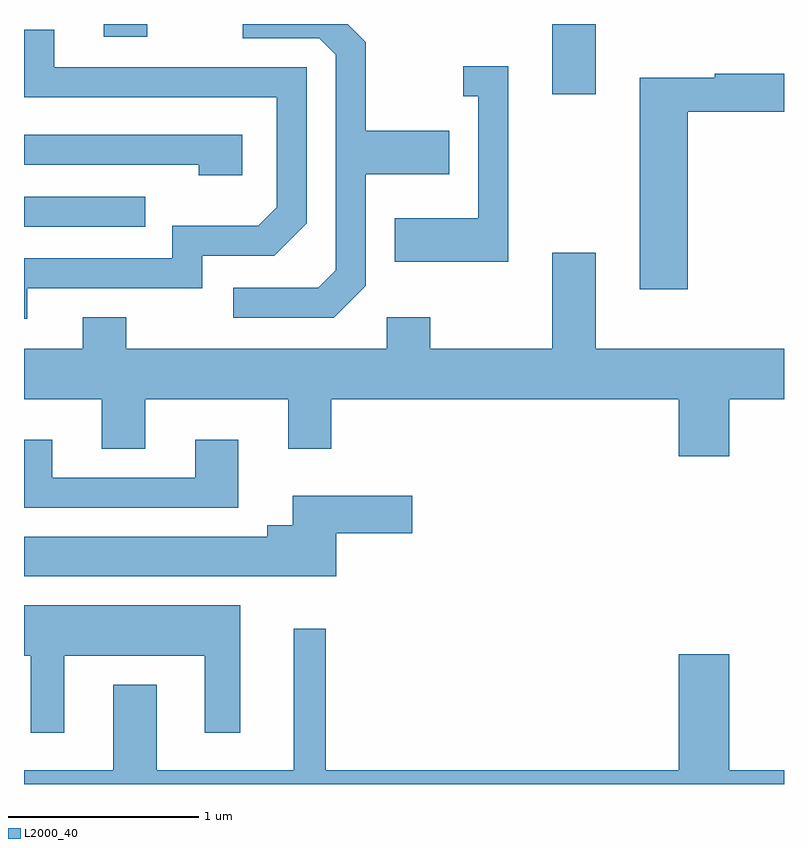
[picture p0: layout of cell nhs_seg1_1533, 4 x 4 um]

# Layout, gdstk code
import gdstk
lib = gdstk.Library(unit=1e-6, precision=1e-09)
def R(c, l, rs):  # rectangles x0, y0, x1, y1
    for r in rs: c.add(gdstk.rectangle(r[:2], r[2:], *l))
def P(c, l, *ps):  # polygons
    for p in ps: c.add(gdstk.Polygon(p, *l))
L2000_40 = (2000, 40)

nhs_seg1_1533 = lib.new_cell('nhs_seg1_1533')
R(nhs_seg1_1533, L2000_40, [(231.611,962.646,232.248,962.804), (234.391,963.341,234.619,963.712), (232.031,963.646,232.259,963.712)])
P(nhs_seg1_1533, L2000_40, [(233.409,962.334),(233.409,962.921),(233.849,962.921),(233.849,963.149),(233.409,963.149),(233.409,963.617),(233.314,963.712),(232.763,963.712),(232.763,963.636),(233.164,963.636),(233.251,963.549),(233.251,962.417),(233.159,962.324),(232.713,962.324),(232.713,962.166),(233.242,962.166)],
  [(231.629,962.321),(232.549,962.321),(232.549,962.491),(232.927,962.491),(233.099,962.664),(233.099,963.484),(231.769,963.484),(231.769,963.683),(231.611,963.683),(231.611,963.326),(232.941,963.326),(232.941,962.747),(232.844,962.649),(232.391,962.649),(232.391,962.479),(231.611,962.479),(231.611,962.161),(231.629,962.161)],
  [(234.159,963.489),(233.923,963.489),(233.923,963.331),(234.001,963.331),(234.001,962.689),(233.561,962.689),(233.561,962.461),(234.159,962.461)],
  [(235.104,963.251),(235.611,963.251),(235.611,963.449),(235.246,963.449),(235.246,963.429),(234.851,963.429),(234.851,962.316),(235.104,962.316)],
  [(232.759,963.129),(231.611,963.129),(231.611,962.971),(232.531,962.971),(232.531,962.916),(232.759,962.916)],
  [(235.324,961.736),(235.611,961.736),(235.611,962.004),(234.619,962.004),(234.619,962.509),(234.391,962.509),(234.391,962.004),(233.749,962.004),(233.749,962.169),(233.521,962.169),(233.521,962.004),(232.149,962.004),(232.149,962.169),(231.921,962.169),(231.921,962.004),(231.611,962.004),(231.611,961.736),(232.021,961.736),(232.021,961.476),(232.249,961.476),(232.249,961.736),(233.001,961.736),(233.001,961.476),(233.229,961.476),(233.229,961.736),(235.056,961.736),(235.056,961.436),(235.324,961.436)],
  [(232.739,961.524),(232.511,961.524),(232.511,961.324),(231.759,961.324),(231.759,961.524),(231.611,961.524),(231.611,961.166),(232.739,961.166)],
  [(233.254,961.031),(233.654,961.031),(233.654,961.229),(233.026,961.229),(233.026,961.074),(232.891,961.074),(232.891,961.014),(231.611,961.014),(231.611,960.806),(233.254,960.806)],
  [(231.824,960.386),(232.561,960.386),(232.561,959.981),(232.749,959.981),(232.749,960.654),(231.611,960.654),(231.611,960.386),(231.646,960.386),(231.646,959.981),(231.824,959.981)],
  [(235.611,959.784),(235.324,959.784),(235.324,960.394),(235.056,960.394),(235.056,959.784),(233.199,959.784),(233.199,960.528),(233.031,960.528),(233.031,959.784),(232.309,959.784),(232.309,960.234),(232.081,960.234),(232.081,959.784),(231.611,959.784),(231.611,959.712),(235.611,959.712)])

lib.write_gds('nhs_seg1_1533.gds')
